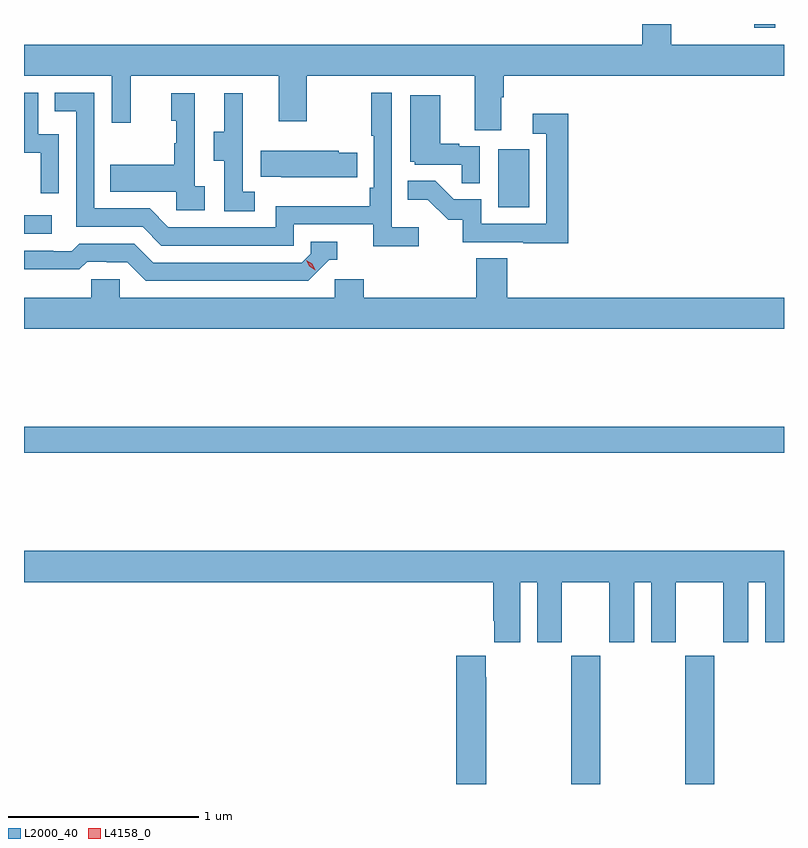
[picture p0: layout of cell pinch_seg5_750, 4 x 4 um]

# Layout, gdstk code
import gdstk
lib = gdstk.Library(unit=1e-6, precision=1e-09)
def R(c, l, rs):  # rectangles x0, y0, x1, y1
    for r in rs: c.add(gdstk.rectangle(r[:2], r[2:], *l))
def P(c, l, *ps):  # polygons
    for p in ps: c.add(gdstk.Polygon(p, *l))
L2000_40 = (2000, 40)
L4158_0 = (4158, 0)

pinch_seg5_750 = lib.new_cell('pinch_seg5_750')
R(pinch_seg5_750, L2000_40, [(857.719,892.993,857.874,893.668), (858.319,892.993,858.474,893.668), (854.84,894.736,858.84,894.872), (854.84,895.89,854.986,895.986), (857.336,896.028,857.5,896.335), (858.684,896.973,858.793,896.993)])
P(pinch_seg5_750, L2000_40, [(857.353,896.608),(857.366,896.608),(857.366,896.72),(858.84,896.72),(858.84,896.884),(858.247,896.884),(858.247,896.993),(858.095,896.993),(858.095,896.884),(854.84,896.884),(854.84,896.72),(855.303,896.72),(855.303,896.472),(855.401,896.472),(855.401,896.72),(856.181,896.72),(856.181,896.481),(856.329,896.481),(856.329,896.72),(857.213,896.72),(857.213,896.434),(857.353,896.434)],
  [(856.918,895.924),(856.776,895.924),(856.776,896.632),(856.668,896.632),(856.668,896.404),(856.68,896.404),(856.68,896.131),(856.66,896.131),(856.66,896.035),(856.164,896.035),(856.164,895.923),(855.6,895.923),(855.501,896.022),(855.21,896.022),(855.21,896.631),(855.001,896.631),(855.001,896.535),(855.114,896.535),(855.114,895.926),(855.464,895.926),(855.563,895.827),(856.26,895.827),(856.26,895.938),(856.679,895.938),(856.679,895.822),(856.918,895.822)],
  [(855.024,896.412),(854.916,896.412),(854.916,896.631),(854.84,896.631),(854.84,896.315),(854.928,896.315),(854.928,896.103),(855.024,896.103)],
  [(855.79,896.138),(855.738,896.138),(855.738,896.629),(855.614,896.629),(855.614,896.484),(855.64,896.484),(855.64,896.366),(855.63,896.366),(855.63,896.251),(855.295,896.251),(855.295,896.111),(855.642,896.111),(855.642,896.013),(855.79,896.013)],
  [(856.054,896.111),(855.99,896.111),(855.99,896.415),(855.992,896.415),(855.992,896.629),(855.893,896.629),(855.893,896.427),(855.839,896.427),(855.839,896.272),(855.894,896.272),(855.894,896.008),(856.054,896.008)],
  [(857.238,896.349),(857.132,896.349),(857.132,896.362),(857.032,896.362),(857.032,896.617),(856.874,896.617),(856.874,896.268),(856.896,896.268),(856.896,896.253),(857.143,896.253),(857.143,896.155),(857.238,896.155)],
  [(857.705,896.521),(857.517,896.521),(857.517,896.415),(857.589,896.415),(857.589,895.941),(857.247,895.941),(857.247,896.07),(857.103,896.07),(857.005,896.168),(856.861,896.168),(856.861,896.069),(856.965,896.069),(857.072,895.962),(857.149,895.962),(857.149,895.845),(857.467,895.845),(857.467,895.84),(857.705,895.84)],
  [(856.595,896.316),(856.497,896.316),(856.497,896.326),(856.087,896.326),(856.087,896.189),(856.195,896.189),(856.195,896.186),(856.595,896.186)],
  [(856.446,895.752),(856.489,895.752),(856.489,895.848),(856.35,895.848),(856.35,895.785),(856.302,895.737),(855.519,895.737),(855.42,895.836),(855.131,895.836),(855.092,895.797),(854.993,895.797),(854.993,895.8),(854.84,895.8),(854.84,895.703),(854.898,895.703),(854.898,895.701),(855.131,895.701),(855.173,895.743),(855.276,895.743),(855.276,895.74),(855.383,895.74),(855.482,895.641),(856.335,895.641)],
  [(858.84,895.552),(857.384,895.552),(857.384,895.76),(857.219,895.76),(857.219,895.552),(856.628,895.552),(856.628,895.65),(856.476,895.65),(856.476,895.552),(855.345,895.552),(855.345,895.65),(855.195,895.65),(855.195,895.552),(854.84,895.552),(854.84,895.388),(858.84,895.388)],
  [(857.452,894.056),(857.54,894.056),(857.54,893.739),(857.671,893.739),(857.671,894.056),(857.921,894.056),(857.921,893.739),(858.052,893.739),(858.052,894.056),(858.14,894.056),(858.14,893.739),(858.271,893.739),(858.271,894.056),(858.521,894.056),(858.521,893.739),(858.652,893.739),(858.652,894.056),(858.74,894.056),(858.74,893.739),(858.84,893.739),(858.84,894.22),(854.84,894.22),(854.84,894.056),(857.309,894.056),(857.309,893.851),(857.315,893.851),(857.315,893.739),(857.452,893.739)],
  [(857.274,893.555),(857.269,893.555),(857.269,893.668),(857.114,893.668),(857.114,892.993),(857.274,892.993)])
P(pinch_seg5_750, L4158_0, [(856.372,895.698),(856.341,895.717),(856.325,895.75),(856.325,895.75),(856.325,895.75),(856.356,895.731),(856.372,895.698),(856.372,895.698)])

lib.write_gds('pinch_seg5_750.gds')
